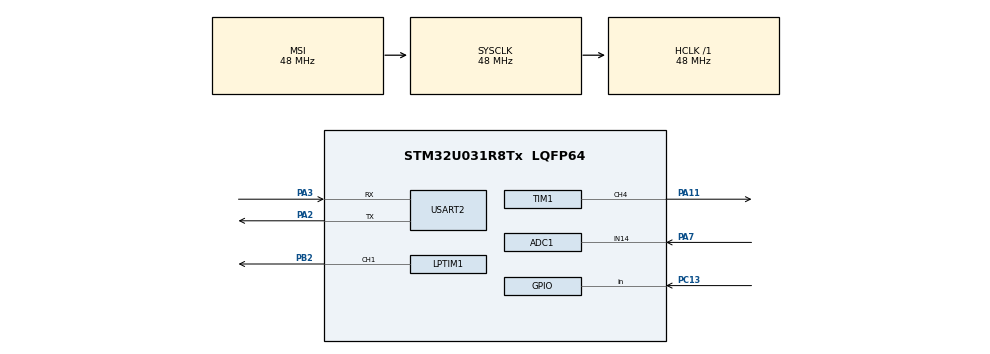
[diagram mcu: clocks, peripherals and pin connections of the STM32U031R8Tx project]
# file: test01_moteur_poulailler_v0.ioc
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ADC1.Channel-1\#ChannelRegularConversion=ADC_CHANNEL_14
ADC1.NbrOfConversionFlag=1
ADC1.Rank-1\#ChannelRegularConversion=1
ADC1.RankArg-1\#ChannelRegularConversion=ADC_REGULAR_RANK_1
ADC1.SamplingTime-1\#ChannelRegularConversion=ADC_SAMPLINGTIME_COMMON_1
ADC1.SamplingTimeCommon1=ADC_SAMPLETIME_160CYCLES_5
ADC1.SamplingTimeCommon2=ADC_SAMPLETIME_160CYCLES_5
ADC1.SelectedChannel=ADC_CHANNEL_14
ADC1.master=1
LPTIM1.ClockPrescaler=LPTIM_PRESCALER_DIV64
LPTIM1.OCPolarity_1=LPTIM_OCPOLARITY_LOW
LPTIM1.Period=999
LPTIM1.RepetitionCounter=0
LPTIM1.UpdateMode=LPTIM_UPDATE_IMMEDIATE
Mcu.Family=STM32U0
Mcu.Name=STM32U031R8Tx
Mcu.Package=LQFP64
NUCLEO-U031R8.BUTTON=1
NUCLEO-U031R8.LD4=false
NUCLEO-U031R8.VCP=false
NVIC.EXTI4_15_IRQn=true\:0\:0\:false\:false\:true\:false\:true\:true
NVIC.PriorityGroup=NVIC_PRIORITYGROUP_2
NVIC.USART2_LPUART2_IRQn=true\:0\:0\:false\:false\:true\:true\:true\:true
PA11\ [PA9].Signal=S_TIM1_CH4
PA13\ (SWDIO).GPIO_Label=SWDIO
PA13\ (SWDIO).Signal=DEBUG_JTMS-SWDIO
PA14\ (SWCLK).GPIO_Label=SWCLK
PA14\ (SWCLK).Signal=DEBUG_JTCK-SWCLK
PA2.Mode=Asynchronous
PA2.Signal=USART2_TX
PA3.Mode=Asynchronous
PA3.Signal=USART2_RX
PA7.Mode=IN14
PA7.Signal=ADC1_IN14
PB2.Signal=S_LPTIM1_CH1
PB8.GPIO_Label=I2C1_SCL
PB8.Signal=I2C1_SCL
PB9.GPIO_Label=I2C1_SDA
PB9.Signal=I2C1_SDA
PC13.Signal=GPIO_Input
PC14-OSC32_IN.GPIO_Label=OSC32_IN
PC14-OSC32_IN.Mode=LSE-External-Oscillator
PC14-OSC32_IN.Signal=RCC_OSC32_IN
PC15-OSC32_OUT.GPIO_Label=OSC32_OUT
PC15-OSC32_OUT.Mode=LSE-External-Oscillator
PC15-OSC32_OUT.Signal=RCC_OSC32_OUT
PF0-OSC_IN.GPIO_Label=OSC_IN
PF0-OSC_IN.Signal=RCC_OSC_IN
PF1-OSC_OUT.GPIO_Label=OSC_OUT
PF1-OSC_OUT.Signal=RCC_OSC_OUT
ProjectManager.HeapSize=0x200
ProjectManager.StackSize=0x400
ProjectManager.TargetToolchain=STM32CubeIDE
RCC.ADCFreq_Value=48000000
RCC.AHBFreq_Value=48000000
RCC.CortexFreq_Value=48000000
RCC.HCLKFreq_Value=48000000
RCC.HSE_VALUE=4000000
RCC.HSI48_VALUE=48000000
RCC.HSI_VALUE=16000000
RCC.MSIClockRangeVal=RCC_MSIRANGE_11
RCC.MSI_VALUE=48000000
RCC.RTCClockSelection=RCC_RTCCLKSOURCE_LSE
RCC.SYSCLKFreq_VALUE=48000000
RCC.SYSCLKSource=RCC_SYSCLKSOURCE_MSI
RCC.VCOOutputFreq_Value=64000000
SH.S_LPTIM1_CH1.0=LPTIM1_CH1,OutputIO_CH1
SH.S_TIM1_CH4.0=TIM1_CH4,PWM Generation4 CH4
TIM1.Channel-PWM\ Generation4\ CH4=TIM_CHANNEL_4
TIM1.Period=999
TIM1.Prescaler=63
USART2.VirtualMode-Asynchronous=VM_ASYNC
VP_LPTIM1_VS_CH1.Mode=Channel_1_Active
VP_LPTIM1_VS_LPTIM_counterModeInternalClock.Mode=Counts__internal_clock_event_00
VP_NUCLEO-U031R8_VS_BSP_COMMON.Mode=COMMON
VP_PWR_VS_SECSignals.Mode=Security/Privilege
VP_RTC_VS_RTC_Activate.Mode=RTC_Enabled
VP_RTC_VS_RTC_Calendar.Mode=RTC_Calendar
board=NUCLEO-U031R8

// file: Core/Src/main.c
/* USER CODE BEGIN Header */
/**
 ******************************************************************************
 * @file           : main.c
 * @brief          : Main program body
 ******************************************************************************
 */
/* USER CODE END Header */

#include "main.h"

/* USER CODE BEGIN PD */
// --- Broches de commande du driver moteur ---
#define MOTEUR_NSLEEP_PORT  GPIOA
#define MOTEUR_NSLEEP_PIN   GPIO_PIN_9   // Réveil du driver (LOW = veille driver)
#define MOTEUR_AVANT_PORT   GPIOB
#define MOTEUR_AVANT_PIN    GPIO_PIN_1   // Sens avant : HIGH = actif
#define MOTEUR_ARRIERE_PORT GPIOA
#define MOTEUR_ARRIERE_PIN  GPIO_PIN_10  // Sens arrière : HIGH = actif

// --- Broches LED de signalisation (gauche à droite) ---
#define LED_G_1_PORT  GPIOB
#define LED_G_1_PIN   GPIO_PIN_7  // LED 1 (la plus à gauche)
#define LED_G_2_PORT  GPIOB
#define LED_G_2_PIN   GPIO_PIN_3  // LED 2
#define LED_D_3_PORT  GPIOB
#define LED_D_3_PIN   GPIO_PIN_8  // LED 3 — ⚠ conflit possible I2C1_SCL
#define LED_D_4_PORT  GPIOB
#define LED_D_4_PIN   GPIO_PIN_9  // LED 4 (la plus à droite) — ⚠ conflit I2C1_SDA
/* USER CODE END PD */

ADC_HandleTypeDef   hadc1;
LPTIM_HandleTypeDef hlptim1;
RTC_HandleTypeDef   hrtc;
TIM_HandleTypeDef   htim1;
UART_HandleTypeDef  huart2;

/* USER CODE BEGIN PV */

uint32_t disconnect_start_time = 0;

/* --- Énumération états physiques de la vanne (direction moteur) ----------- */
typedef enum {
    MOTEUR_ARRET = 0,
    MOTEUR_DROITE,
    MOTEUR_GAUCHE
} Motor_State_t;

/* --- Vitesse et commandes UART ------------------------------------------- */
uint8_t        speed_level    = 3;                          // Niveau actuel (1=lent … 4=rapide)
const uint16_t speed_table[4] = {780, 840, 910, 999};      // Table des 4 vitesses fixes
uint16_t       current_speed  = 900;                        // Valeur PWM correspondant au niveau 3
uint8_t        rx_data;                                     // Dernier octet reçu sur l'UART
volatile uint8_t        rx_pending     = 0;  // 1 = octet de réveil disponible dans rx_data (capturé IT)
char msg_cmd[150];    // Dédié uniquement aux réponses de commandes ('D', 'A', 'S'...)
char msg_status[400]; // Dédié uniquement au gros tableau d'état périodique

/* --- Mesure de courant moteur via ADC ------------------------------------ */
uint32_t adc_value      = 0;    // Valeur brute 12 bits (0–4095)
float    courant_moteur = 0.0f; // Courant calculé en Ampères (instantané)
uint32_t last_tick      = 0;    // Référence pour la cadence de 500 ms

/* --- Filtre : moyenne glissante sur 5 échantillons ----------------------- */
float lecture[5]      = {0.0f, 0.0f, 0.0f, 0.0f, 0.0f}; // Fenêtre FIFO
float somme_courant   = 0.0f; // Somme recalculée à chaque nouvelle mesure
float moyenne_courant = 0.0f; // Résultat lissé utilisé par la FSM de sécurité

/* --- Sécurité : calibration et détection de blocage/absence ------------- */
float    courant_fonctionnement_morteur = 0.0f; // Courant nominal mesuré après 3 s de marche
float    threshold                      = 0.9f; // Seuil de surcourant (recalculé après calibration)
int      compteur_securite              = 0;    // Nombre de dépassements consécutifs du seuil
uint32_t motor_start_time               = 0;    // Horodatage du dernier démarrage

/* --- Machine à états de sécurité du moteur -------------------------------- */
typedef enum {
    MOTEUR_OFF,             // Arrêt propre, MCU peut entrer en veille
    DEMARRAGE_MOTEUR,       // Phase initiale : surcourant transitoire ignoré
    CALIBRATION_MOTEUR,     // Mesure du courant nominal pour fixer le seuil
    MOTEUR_MARCHE,          // Surveillance active : détection blocage/absence
    MOTEUR_ERREUR_ABSENCE,  // Moteur déconnecté (courant < 0.04 A) — clignotement 3 s
    MOTEUR_ERREUR_BLOCAGE   // Moteur bloqué (surcourant × 5) — clignotement 0.5 s
} MotorState_t;

volatile MotorState_t motor_state = MOTEUR_OFF; // État initial
uint32_t     elapsed     = 0;          // Durée ms depuis le dernier démarrage (accès global)

/* --- Gestion du timeout d'affichage LEDs vitesse ------------------------- */
uint32_t led_timer  = 0; // Horodatage du dernier changement de vitesse
volatile uint8_t  led_active = 0; // 1 = LEDs vitesse allumées, empêche la mise en veille

/* USER CODE END PV */

void SystemClock_Config(void);
static void MX_GPIO_Init(void);
static void MX_TIM1_Init(void);
static void MX_LPTIM1_Init(void);
static void MX_ADC1_Init(void);
static void MX_USART2_UART_Init(void);
static void MX_RTC_Init(void);
/* USER CODE BEGIN PFP */
void Enter_Low_Power_Mode(void);
void Update_LED_Timeout(void);
void Gerer_Erreur_Moteur(void);
static void UART_Send_Welcome_Msg(void);
/* USER CODE END PFP */

/* USER CODE BEGIN 0 */

/* USER CODE BEGIN 0 */
/* ---------------------------------------------------------------------------
 * UART_Send_Welcome_Msg — Affichage sécurisé du grand logo d'origine
 * --------------------------------------------------------------------------- */
static void UART_Send_Welcome_Msg(void)
{
    HAL_UART_Transmit(&huart2, (uint8_t*)"\r\n", 2, 10);
    HAL_Delay(20);

    // Tableau fixe stocké en Flash avec les caractères spéciaux d'origine
    static const char logo[] =
            "                              ######\r\n"
            "                            ########     ##\r\n"
            "                            #########   ######\r\n"
            "                             #########  ########\r\n"
            "                   ########  ##########  ########\r\n"
            "                  ################################\r\n"
            "                  ################################\r\n"
            "                   ###############################\r\n"
            "                    ##########         ##########\r\n"
            "                     #######             #######\r\n"
            "                      #####         @@@   ######\r\n"
            "     ###########        #         @@@@@@@  #########\r\n"
            "   #######    #### #####           @@@@@    #########   #####\r\n"
            "  ######      ##########                    ########### ######\r\n"
            " ######      #### ######                    #################\r\n"
            " ######           ##### #####      ######     #######   #####    #####    #######   ###### ###### #####\r\n"
            "######           #############    #####    #####      #####   ####     ###### ###  ############\r\n"
            "######           ######  ######   ######  ######       ##### ####      ######  ### ######   ######\r\n"
            "######          ######   ######   ###### ######       ###########   ######   ### ######   ######\r\n"
            "######          ######   #####   ######  #####        ######  #####  #####  ###   #####    #####\r\n"
            "######          #####   ######   ######  #####       ######    ##### #########    ######   ######\r\n"
            "######         ######   ######   #####   #####       ######   ###### ######      #######   #####\r\n"
            "#######     #########   ######  ####### #######   ########    ###### ######    ########    #####\r\n"
            "  ##################    ################# ################    ################# ######    #######\r\n"
            "     #####    #####        ##       ##      ####    #####        ##      ###     #####       ###\r\n"
            "\r\n"
            "                                               ###########\r\n"
            "                                             ### ####   ####   #######     #######\r\n"
            "                                            ###  ####   ####  #########   #########\r\n"
            "                                            ### #####   #### #######################     ########\r\n"
            "                                             ## ####    #### ########################   ##### ###\r\n"
            "                                               #####   ##### ########################   ####\r\n"
            "                                               ####    ####  ########################  #####\r\n"
            "                                               ####   ####    ######################   ####\r\n"
            "                                              ###########      ####################   ####\r\n"
            "                                              ##########        ##################   #####\r\n\0";

    // Envoi précis basé sur sizeof pour ne pas baver sur le reste de la mémoire
        HAL_UART_Transmit(&huart2, (uint8_t*)logo, sizeof(logo) - 1, 1500);
        HAL_Delay(100);

        static const char bloc_info[] =
            "\r\n+------------------------------------------------+\r\n"
            "|     SYSTEME DE CONTROLE MOTEUR INITIALISE      |\r\n"
            "|            PRET A RECEVOIR LES ORDRES          |\r\n"
            "+------------------------------------------------+\r\n\r\n\0";

        HAL_UART_Transmit(&huart2, (uint8_t*)bloc_info, sizeof(bloc_info) - 1, 200);
    }
/*USER CODE END 0 */

/* ---------------------------------------------------------------------------
 * LED_AllOff
 * Éteint les 4 LEDs d'un coup.
 * Mutualisée : Motor_Stop, Update_LED_Timeout, Reset erreur.
 * --------------------------------------------------------------------------- */

static void LED_AllOff(void)
{
    HAL_GPIO_WritePin(LED_G_1_PORT, LED_G_1_PIN, GPIO_PIN_RESET);
    HAL_GPIO_WritePin(LED_G_2_PORT, LED_G_2_PIN, GPIO_PIN_RESET);
    HAL_GPIO_WritePin(LED_D_3_PORT, LED_D_3_PIN, GPIO_PIN_RESET);
    HAL_GPIO_WritePin(LED_D_4_PORT, LED_D_4_PIN, GPIO_PIN_RESET);
}

/* ---------------------------------------------------------------------------
 * LED_ToggleAll
 * Inverse l'état des 4 LEDs simultanément.
 * Utilisée par Gerer_Erreur_Moteur pour le clignotement non-bloquant.
 * --------------------------------------------------------------------------- */

static void LED_ToggleAll(void)
{
    HAL_GPIO_TogglePin(LED_G_1_PORT, LED_G_1_PIN);
    HAL_GPIO_TogglePin(LED_G_2_PORT, LED_G_2_PIN);
    HAL_GPIO_TogglePin(LED_D_3_PORT, LED_D_3_PIN);
    HAL_GPIO_TogglePin(LED_D_4_PORT, LED_D_4_PIN);
}

/* ---------------------------------------------------------------------------
 * Motor_HardStop
 * Coupe la PWM et met les pins de direction à 0 SANS modifier motor_state.
 * Utilisée par la FSM d'erreur pour figer le hardware avant de verrouiller l'état.
 * Différent de Motor_Stop() qui remet motor_state = MOTEUR_OFF.
 * --------------------------------------------------------------------------- */

static void Motor_HardStop(void)
{
    HAL_LPTIM_PWM_Stop(&hlptim1, LPTIM_CHANNEL_1); // Coupe PWM marche arrière
    HAL_TIM_PWM_Stop(&htim1, TIM_CHANNEL_4);        // Coupe PWM marche avant
    HAL_GPIO_WritePin(GPIOA, GPIO_PIN_11, GPIO_PIN_RESET); // Pin direction pont H à 0
    HAL_GPIO_WritePin(GPIOB, GPIO_PIN_2,  GPIO_PIN_RESET); // Pin direction pont H à 0
}

/* ---------------------------------------------------------------------------
 * PWM_StopAll
 * Arrête les deux PWM avant tout changement de direction.
 * Évite un court-circuit du pont en H si les deux sens sont actifs simultanément.
 * --------------------------------------------------------------------------- */

static void PWM_StopAll(void)
{
    HAL_LPTIM_PWM_Stop(&hlptim1, LPTIM_CHANNEL_1);
    HAL_TIM_PWM_Stop(&htim1, TIM_CHANNEL_4);
}

/* ---------------------------------------------------------------------------
 * Motor_StartTimer
 * Réinitialise le chrono et le compteur de sécurité à chaque nouveau démarrage.
 * Mutualisé entre Motor_Forward et Motor_Reverse.
 * --------------------------------------------------------------------------- */

static void Motor_StartTimer(void)
{
    motor_start_time  = HAL_GetTick(); // Référence pour la FSM (demarrage, calibration, marche)
    motor_state       = DEMARRAGE_MOTEUR; // Ignore les surcourants pendant le transitoire
    compteur_securite = 0;            // Repart à zéro pour la prochaine détection de blocage
    elapsed           = 0;            // Affichage UART remis à zéro
}

/* ---------------------------------------------------------------------------
 * Motor_Forward — marche avant via TIM1 CH4
 * Séquence : arrêt propre → délai anti-shoot-through → démarrage PWM → chrono
 * --------------------------------------------------------------------------- */

void Motor_Forward(void)
{
    PWM_StopAll(); // Coupe les deux PWM : évite court-circuit pendant la transition

    // Pins de direction à 0 avant d'activer le nouveau sens
    HAL_GPIO_WritePin(GPIOB, GPIO_PIN_2,  GPIO_PIN_RESET);
    HAL_GPIO_WritePin(GPIOA, GPIO_PIN_11, GPIO_PIN_RESET);
    HAL_Delay(5); // 5 ms : attend l'extinction complète des transistors du pont en H

    __HAL_TIM_SET_COMPARE(&htim1, TIM_CHANNEL_4, current_speed); // Charge le rapport cyclique
    HAL_TIM_PWM_Start(&htim1, TIM_CHANNEL_4);   // Lance la PWM marche avant
    Motor_StartTimer(); // Démarre la FSM de sécurité
}

/* ---------------------------------------------------------------------------
 * Motor_Reverse — marche arrière via LPTIM1 CH1
 * Même séquence que Motor_Forward, mais PWM sur LPTIM1.
 * L'ordre de reset des pins est inversé (spécifique au câblage du pont en H).
 * --------------------------------------------------------------------------- */

void Motor_Reverse(void)
{
    PWM_StopAll();

    // Ordre de reset inversé par rapport à Forward : dépend du câblage du pont en H
    HAL_GPIO_WritePin(GPIOA, GPIO_PIN_11, GPIO_PIN_RESET);
    HAL_GPIO_WritePin(GPIOB, GPIO_PIN_2,  GPIO_PIN_RESET);
    HAL_Delay(5); // Anti-shoot-through

    HAL_LPTIM_PWM_Start(&hlptim1, LPTIM_CHANNEL_1); // Lance la PWM marche arrière
    __HAL_LPTIM_COMPARE_SET(&hlptim1, LPTIM_CHANNEL_1, current_speed); // Applique le rapport cyclique
    Motor_StartTimer();
}

/* ---------------------------------------------------------------------------
 * Motor_Stop — arrêt propre + reset état + extinction LEDs
 * Remet motor_state = MOTEUR_OFF → autorise la mise en veille dans le while(1).
 * --------------------------------------------------------------------------- */

void Motor_Stop(void)
{
    PWM_StopAll(); // Coupe les deux canaux PWM

    // Pont en H en roue libre (les deux pins à 0 = pas de freinage actif)
    HAL_GPIO_WritePin(GPIOA, GPIO_PIN_11, GPIO_PIN_RESET);
    HAL_GPIO_WritePin(GPIOB, GPIO_PIN_2,  GPIO_PIN_RESET);

    motor_state = MOTEUR_OFF; // Condition de mise en veille dans le while(1)
    threshold   = 1.0f;       // Réinitialise le seuil : sera recalibré au prochain démarrage

    LED_AllOff();  // Éteint les LEDs vitesse : moteur à l'arrêt = pas d'information à afficher
    led_active = 0; // Lève le verrou de mise en veille lié aux LEDs
}

/* ---------------------------------------------------------------------------
 * Motor_SetSpeed — change la vitesse (4 niveaux fixes) + affiche sur LEDs
 * Les LEDs servent de barre de progression : 1 LED = lent, 4 LEDs = rapide.
 * --------------------------------------------------------------------------- */

void Motor_SetSpeed(uint16_t speed)
{
    if (speed > 999)              speed = 999; // Limite haute : période timer = 999
    if (speed > 0 && speed < 700) speed = 700; // Limite basse : en dessous le moteur cale

    current_speed = speed;

    // Mise à jour PWM uniquement si le moteur tourne (évite une sortie fantôme à l'arrêt)
    if (motor_state != MOTEUR_OFF)
    {
        __HAL_TIM_SET_COMPARE(&htim1, TIM_CHANNEL_4, current_speed);    // Marche avant
        __HAL_LPTIM_COMPARE_SET(&hlptim1, LPTIM_CHANNEL_1, current_speed); // Marche arrière
    }

    // Affichage barre de vitesse : N LEDs allumées de gauche à droite = speed_level

    HAL_GPIO_WritePin(LED_G_1_PORT, LED_G_1_PIN, (speed_level >= 1) ? GPIO_PIN_SET : GPIO_PIN_RESET);
    HAL_GPIO_WritePin(LED_G_2_PORT, LED_G_2_PIN, (speed_level >= 2) ? GPIO_PIN_SET : GPIO_PIN_RESET);
    HAL_GPIO_WritePin(LED_D_3_PORT, LED_D_3_PIN, (speed_level >= 3) ? GPIO_PIN_SET : GPIO_PIN_RESET);
    HAL_GPIO_WritePin(LED_D_4_PORT, LED_D_4_PIN, (speed_level >= 4) ? GPIO_PIN_SET : GPIO_PIN_RESET);

    led_timer  = HAL_GetTick(); // Démarre le timeout de 1.5 s avant extinction auto
    led_active = 1;             // Empêche la mise en veille pendant l'affichage
}

/* ---------------------------------------------------------------------------
 * Get_Motor_Current — lecture ADC → conversion en Ampères
 * Formule : I = (ADC/4095 × 3.3 V) / R_shunt × facteur_correction - offset
 * --------------------------------------------------------------------------- */

float Get_Motor_Current(void)
{
    float res_ohm = 1.3f;   // Résistance de shunt mesurée physiquement (Ω)
    float offset  = 0.062f; // Tension résiduelle à courant nul (A), compensée ici

    HAL_ADC_Start(&hadc1); // Déclenche une conversion logicielle unique

    if (HAL_ADC_PollForConversion(&hadc1, 100) == HAL_OK)
    {
        adc_value = HAL_ADC_GetValue(&hadc1); // Valeur brute 12 bits (0–4095)

        // Conversion : tension ADC → courant, avec correction du gain de l'amplificateur
        courant_moteur = (((adc_value * 3.3f) / 4095.0f) / res_ohm) * 1.103f;
        courant_moteur -= offset; // Soustrait le zéro de l'ampèremètre à vide

        if (courant_moteur < 0) courant_moteur = 0; // Valeur physiquement impossible
    }

    HAL_ADC_Stop(&hadc1); // Libère l'ADC (LowPowerAutoPowerOff l'éteint aussi)
    return courant_moteur;
}

/* ---------------------------------------------------------------------------
 * Update_Moving_Average — filtre glissant FIFO 5 points
 * Lisse le courant pour éviter les fausses détections sur les pics transitoires.
 * --------------------------------------------------------------------------- */

float Update_Moving_Average(float new_sample)
{
    // Décalage FIFO : indice 0 = le plus ancien, 4 = le plus récent
    lecture[0] = lecture[1];
    lecture[1] = lecture[2];
    lecture[2] = lecture[3];
    lecture[3] = lecture[4];
    lecture[4] = new_sample; // Insère le nouvel échantillon en queue

    // Recalcul complet de la somme (5 valeurs, calcul incrémental inutile ici)
    somme_courant = 0;
    for (int i = 0; i < 5; i++) somme_courant += lecture[i];

    return somme_courant / 5.0f;
}

/* ---------------------------------------------------------------------------
 * UART_Send_Status — trame de diagnostic périodique (toutes les 500 ms)
 * Centralise l'envoi pour ne pas disperser les sprintf dans la FSM.
 * --------------------------------------------------------------------------- */

static void UART_Send_Status(void)
{
    int len = sprintf(msg_status,
        "\r\n+--------------------------------------+\r\n"
        "|            ETAT DU SYSTEME           |\r\n"
        "+--------------------------------------+\r\n"
        "| Courant Moy.   : %6.3f A            |\r\n"
        "| Courant Fct.   : %6.3f A            |\r\n"
        "| Seuil (Thresh) : %6.3f A            |\r\n"
        "| Compteur Secu. : %-6d              |\r\n"
        "| Etat Moteur    : %-6d              |\r\n"
        "| Temps Ecoule   : %-8lu ms         |\r\n"
        "| Niveau Vitesse : %-6d              |\r\n"
        "+--------------------------------------+\r\n",
        moyenne_courant, courant_fonctionnement_morteur,
        threshold, compteur_securite, (int)motor_state, elapsed, speed_level);

    // Augmentation légère du timeout (100ms) car le message contient plus de caractères
    HAL_UART_Transmit(&huart2, (uint8_t*)msg_status, len, 200);
}

/* ---------------------------------------------------------------------------
 * Motor_Security_FSM — surveillance courant en 4 phases
 *
 *  DEMARRAGE (0→2 s)   : transitoire ignoré, courant élevé normal
 *  CALIBRATION (2→3 s) : mesure du courant nominal → fixe threshold = nominal × 1.2
 *  MARCHE (>3 s)       : surveillance active
 *    → courant < 0.04 A : moteur absent/déconnecté → ERREUR_ABSENCE
 *    → surcourant × 5   : blocage mécanique → ERREUR_BLOCAGE
 *    → elapsed > 20 s   : fin de course temporelle → arrêt propre
 * --------------------------------------------------------------------------- */

static void Motor_Security_FSM(uint32_t current_time)
{
    elapsed = current_time - motor_start_time; // Durée depuis le dernier Motor_StartTimer()

    if (motor_state == DEMARRAGE_MOTEUR && elapsed > 2000)
    {
        // 2 s écoulées : fin du transitoire de démarrage
        motor_state = CALIBRATION_MOTEUR;
        HAL_UART_Transmit(&huart2, (uint8_t*)"Calibrage...\r\n", 14, 10);
    }
    else if (motor_state == CALIBRATION_MOTEUR && elapsed > 3000)
    {
        // 3 s : courant stabilisé → on le prend comme référence nominale
        courant_fonctionnement_morteur = moyenne_courant;

        // Plancher à 0.05 A : évite un seuil nul si le moteur tourne à vide
        if (courant_fonctionnement_morteur < 0.05f) courant_fonctionnement_morteur = 0.05f;

        threshold   = courant_fonctionnement_morteur * 1.25f; // +25 % de marge
        motor_state = MOTEUR_MARCHE; // Surveillance active

        int len = sprintf(msg_status, "Seuil fixé à: %.2f A\r\n", threshold);
        HAL_UART_Transmit(&huart2, (uint8_t*)msg_status, len, 50);
    }
    else if (motor_state == MOTEUR_MARCHE && elapsed > 20000)
    {
        // 20 s : fin de course temporelle → arrêt propre autorisé
        Motor_Stop();
        HAL_UART_Transmit(&huart2, (uint8_t*)"FIN DE COURSE (TEMPS)\r\n", 23, 50);
        elapsed = 0;
    }
    else if (motor_state == MOTEUR_MARCHE)
    {
        // --- Défaut de présence : moteur déconnecté du circuit ---
        if (moyenne_courant < 0.04f)
        {
            // 1. Si le moteur vient juste de descendre sous le seuil, on lance le chrono
            if (disconnect_start_time == 0)
            {
                disconnect_start_time = current_time;
                HAL_UART_Transmit(&huart2, (uint8_t*)"[!] Courant nul ! Verification en cours...\r\n", 44, 100);
            }
            // 2. Si le chrono est lancé, on gère l'affichage du décompte et la coupure
            else
            {
                uint32_t temps_suspect = current_time - disconnect_start_time;

                if (temps_suspect >= 5000)
                {
                    Motor_HardStop(); // Coupe le hardware sans écraser motor_state
                    motor_state = MOTEUR_ERREUR_ABSENCE; // Verrouille en état d'erreur
                    HAL_UART_Transmit(&huart2, (uint8_t*)"\r\n!!! DEFAUT: MOTEUR DECONNECTE (TIMEOUT 5S) !!!\r\n", 51, 100);
                    elapsed = 0;
                    disconnect_start_time = 0; // Reset du chrono
                }
                else
                {

                    // On affiche un message clair à chaque seconde fixe (1s, 2s, 3s, 4s)
                    // Puisque Motor_Periodic_Update tourne toutes les 500ms ou 1000ms, on suit le rythme.
                    char msg_countdown[60];
                    int len_count = sprintf(msg_countdown, "[!] Test absence... en cours depuis %lu ms / 5000 ms\r\n", temps_suspect);
                    HAL_UART_Transmit(&huart2, (uint8_t*)msg_countdown, len_count, 50);
                }
            }
        }
        // --- Détection de blocage mécanique par surcourant ---
        else if (moyenne_courant > threshold)
        {
            disconnect_start_time = 0; // Le courant est bon, on reset le chrono d'absence
            compteur_securite++;

            if (compteur_securite >= 5)
            {
                Motor_HardStop();
                motor_state = MOTEUR_ERREUR_BLOCAGE;
                HAL_UART_Transmit(&huart2, (uint8_t*)"!!! DEFAUT: BLOCAGE MOTEUR  !!!\r\n", 35, 100);
                elapsed = 0;
            }
        }
        else
        {
            disconnect_start_time = 0; // Le courant est parfaitement normal, on reset tout
            compteur_securite = 0;
        }
    }
}

/* ---------------------------------------------------------------------------
 * Motor_Periodic_Update — tâche périodique 500 ms (moteur en marche)
 * Lit le courant, met à jour la moyenne, exécute la FSM, envoie le diagnostic.
 * --------------------------------------------------------------------------- */
static void Motor_Periodic_Update(void)
{
    uint32_t current_time = HAL_GetTick();

    if (current_time - last_tick >= 1000) // Cadence fixe de 500 ms
    {
        last_tick = current_time; // Référence pour la prochaine fenêtre

        float instant   = Get_Motor_Current();
        moyenne_courant = Update_Moving_Average(instant); // Courant lissé sur 5 mesures

        Motor_Security_FSM(current_time); // Calibration + détection d'anomalie
        UART_Send_Status();               // Envoi trame diagnostic
    }
}

/* ---------------------------------------------------------------------------
 * Process_UART_Command — dispatch commandes UART (non bloquant)
 * rx_pending prioritaire : octet capturé depuis une IT de réveil veille.
 * Polling sinon (timeout = 0 ms = retour immédiat si rien).
 * --------------------------------------------------------------------------- */
static void Process_UART_Command(void)
{
    // Priorité à l'octet de réveil (capturé par IT avant le WFI)
    if (!rx_pending && HAL_UART_Receive(&huart2, &rx_data, 1, 0) != HAL_OK) return;
    rx_pending = 0; // Consomme le flag IT

    HAL_UART_Transmit(&huart2, &rx_data, 1, 10); // Echo : confirme la réception au PC

    switch (rx_data)
    {
        case 'D': Motor_Forward(); break;
        case 'A': Motor_Reverse(); break;
        case 'S': Motor_Stop();    break;

        case '+':
            if (speed_level < 4)
            {
                speed_level++;
                current_speed = speed_table[speed_level - 1]; // Niveau 1-4 → index 0-3
                Motor_SetSpeed(current_speed);
            }
            break;

        case '-':
            if (speed_level > 1)
            {
                speed_level--;
                current_speed = speed_table[speed_level - 1];
                Motor_SetSpeed(current_speed);
            }
            break;
    }

    sprintf(msg_cmd, "\r\nCommande: %c | Niveau Vitesse: %d | Valeur PWM: %d\r\n",
            rx_data, speed_level, current_speed);
    HAL_UART_Transmit(&huart2, (uint8_t*)msg_cmd, strlen(msg_cmd), 100);
}

/* ---------------------------------------------------------------------------
 * HAL_UART_RxCpltCallback — IT UART : flag seulement, jamais de logique ici
 * La logique moteur s'exécute dans Process_UART_Command (contexte tâche).
 * --------------------------------------------------------------------------- */
void HAL_UART_RxCpltCallback(UART_HandleTypeDef *huart)
{
    if (huart == &huart2) rx_pending = 1;
}

/* USER CODE END 0 */

int main(void)
{
    HAL_Init();
    SystemClock_Config();

    MX_GPIO_Init();
    MX_TIM1_Init();
    MX_LPTIM1_Init();
    MX_ADC1_Init();
    MX_USART2_UART_Init();
    MX_RTC_Init();

    /* USER CODE BEGIN 2 */
    /* USER CODE BEGIN 2 */
      HAL_TIM_PWM_Start(&htim1, TIM_CHANNEL_4); // Pré-démarre TIM1 (requis avant Motor_Forward)
      __HAL_TIM_MOE_ENABLE(&htim1);             // Main Output Enable : active la sortie TIM1

      if (HAL_LPTIM_PWM_Start(&hlptim1, LPTIM_CHANNEL_1) != HAL_OK) Error_Handler();

      // 🔥 LA CORRECTION EST ICI : On appelle juste la fonction, et c'est TOUT !
      UART_Send_Welcome_Msg();

      /* USER CODE END 2 */
    /* USER CODE BEGIN WHILE */

    while (1)
    {
        // 1. Traitement des commandes UART
        Process_UART_Command();

        // 2. Timeout LEDs vitesse
        if (motor_state != MOTEUR_ERREUR_ABSENCE && motor_state != MOTEUR_ERREUR_BLOCAGE)
        {
            Update_LED_Timeout();
        }

        // 3. Clignotement d'erreur
        Gerer_Erreur_Moteur();

        // 4. Moteur en marche normale → surveillance courant
        if (motor_state != MOTEUR_OFF
         && motor_state != MOTEUR_ERREUR_ABSENCE
         && motor_state != MOTEUR_ERREUR_BLOCAGE)
        {
            // On appelle UNIQUEMENT cette fonction.
            // C'est elle qui gère en interne le rythme des 500 ms pour TOUT le monde.
            Motor_Periodic_Update();
        }

        // 5. Veille uniquement si tout est éteint
        else if (motor_state == MOTEUR_OFF && led_active == 0)
        {
            Enter_Low_Power_Mode();
        }
    }
    /* USER CODE END WHILE */
}

void SystemClock_Config(void)
{
    RCC_OscInitTypeDef RCC_OscInitStruct = {0};
    RCC_ClkInitTypeDef RCC_ClkInitStruct = {0};

    HAL_PWREx_ControlVoltageScaling(PWR_REGULATOR_VOLTAGE_SCALE1);
    HAL_PWR_EnableBkUpAccess();
    __HAL_RCC_LSEDRIVE_CONFIG(RCC_LSEDRIVE_LOW);

    RCC_OscInitStruct.OscillatorType      = RCC_OSCILLATORTYPE_LSE | RCC_OSCILLATORTYPE_MSI;
    RCC_OscInitStruct.LSEState            = RCC_LSE_ON;
    RCC_OscInitStruct.MSIState            = RCC_MSI_ON;
    RCC_OscInitStruct.MSICalibrationValue = RCC_MSICALIBRATION_DEFAULT;
    RCC_OscInitStruct.MSIClockRange       = RCC_MSIRANGE_11; // 48 MHz
    RCC_OscInitStruct.PLL.PLLState        = RCC_PLL_NONE;
    if (HAL_RCC_OscConfig(&RCC_OscInitStruct) != HAL_OK) Error_Handler();

    RCC_ClkInitStruct.ClockType      = RCC_CLOCKTYPE_HCLK | RCC_CLOCKTYPE_SYSCLK | RCC_CLOCKTYPE_PCLK1;
    RCC_ClkInitStruct.SYSCLKSource   = RCC_SYSCLKSOURCE_MSI;
    RCC_ClkInitStruct.AHBCLKDivider  = RCC_SYSCLK_DIV1;
    RCC_ClkInitStruct.APB1CLKDivider = RCC_HCLK_DIV1;
    if (HAL_RCC_ClockConfig(&RCC_ClkInitStruct, FLASH_LATENCY_1) != HAL_OK) Error_Handler();
}

static void MX_ADC1_Init(void)
{
    ADC_ChannelConfTypeDef sConfig = {0};
    hadc1.Instance                   = ADC1;
    hadc1.Init.ClockPrescaler        = ADC_CLOCK_SYNC_PCLK_DIV1;
    hadc1.Init.Resolution            = ADC_RESOLUTION_12B;
    hadc1.Init.DataAlign             = ADC_DATAALIGN_RIGHT;
    hadc1.Init.ScanConvMode          = ADC_SCAN_DISABLE;
    hadc1.Init.EOCSelection          = ADC_EOC_SINGLE_CONV;
    hadc1.Init.LowPowerAutoWait      = DISABLE;
    hadc1.Init.LowPowerAutoPowerOff  = ENABLE;  // Éteint l'ADC entre deux conversions (~1 mA économisé)
    hadc1.Init.ContinuousConvMode    = DISABLE;
    hadc1.Init.NbrOfConversion       = 1;
    hadc1.Init.DiscontinuousConvMode = DISABLE;
    hadc1.Init.ExternalTrigConv      = ADC_SOFTWARE_START;
    hadc1.Init.ExternalTrigConvEdge  = ADC_EXTERNALTRIGCONVEDGE_NONE;
    hadc1.Init.DMAContinuousRequests = DISABLE;
    hadc1.Init.Overrun               = ADC_OVR_DATA_PRESERVED;
    hadc1.Init.SamplingTimeCommon1   = ADC_SAMPLETIME_160CYCLES_5;
    hadc1.Init.SamplingTimeCommon2   = ADC_SAMPLETIME_160CYCLES_5;
    hadc1.Init.OversamplingMode      = DISABLE;
    hadc1.Init.TriggerFrequencyMode  = ADC_TRIGGER_FREQ_HIGH;
    if (HAL_ADC_Init(&hadc1) != HAL_OK) Error_Handler();

    sConfig.Channel      = ADC_CHANNEL_14; // PA7 : shunt de mesure de courant
    sConfig.Rank         = ADC_REGULAR_RANK_1;
    sConfig.SamplingTime = ADC_SAMPLINGTIME_COMMON_1;
    if (HAL_ADC_ConfigChannel(&hadc1, &sConfig) != HAL_OK) Error_Handler();
}

static void MX_LPTIM1_Init(void)
{
    LPTIM_OC_ConfigTypeDef sConfig1 = {0};
    hlptim1.Instance               = LPTIM1;
    hlptim1.Init.Clock.Source      = LPTIM_CLOCKSOURCE_APBCLOCK_LPOSC;
    hlptim1.Init.Clock.Prescaler   = LPTIM_PRESCALER_DIV64; // Divise pour obtenir la fréquence PWM
    hlptim1.Init.Trigger.Source    = LPTIM_TRIGSOURCE_SOFTWARE;
    hlptim1.Init.Period            = 999; // Même période que TIM1 : cohérence du rapport cyclique
    hlptim1.Init.UpdateMode        = LPTIM_UPDATE_IMMEDIATE;
    hlptim1.Init.CounterSource     = LPTIM_COUNTERSOURCE_INTERNAL;
    hlptim1.Init.Input1Source      = LPTIM_INPUT1SOURCE_GPIO;
    hlptim1.Init.Input2Source      = LPTIM_INPUT2SOURCE_GPIO;
    hlptim1.Init.RepetitionCounter = 0;
    if (HAL_LPTIM_Init(&hlptim1) != HAL_OK) Error_Handler();

    sConfig1.Pulse      = 0;                    // Rapport cyclique initial à 0 %
    sConfig1.OCPolarity = LPTIM_OCPOLARITY_LOW; // Polarité inversée vs TIM1 (câblage pont en H)
    if (HAL_LPTIM_OC_ConfigChannel(&hlptim1, &sConfig1, LPTIM_CHANNEL_1) != HAL_OK) Error_Handler();
    HAL_LPTIM_MspPostInit(&hlptim1); // Reconnecte la broche GPIO à la sortie LPTIM1
}

static void MX_RTC_Init(void)
{
    RTC_TimeTypeDef sTime = {0};
    RTC_DateTypeDef sDate = {0};

    hrtc.Instance            = RTC;
    hrtc.Init.HourFormat     = RTC_HOURFORMAT_24;
    hrtc.Init.AsynchPrediv   = 127;  // Prédiviseur asynch : (127+1) × (255+1) = 32768 Hz (LSE)
    hrtc.Init.SynchPrediv    = 255;  // Prédiviseur synch : donne 1 Hz pour le compteur RTC
    hrtc.Init.OutPut         = RTC_OUTPUT_DISABLE;
    hrtc.Init.OutPutRemap    = RTC_OUTPUT_REMAP_NONE;
    hrtc.Init.OutPutPolarity = RTC_OUTPUT_POLARITY_HIGH;
    hrtc.Init.OutPutType     = RTC_OUTPUT_TYPE_OPENDRAIN;
    hrtc.Init.OutPutPullUp   = RTC_OUTPUT_PULLUP_NONE;
    hrtc.Init.BinMode        = RTC_BINARY_NONE;
    if (HAL_RTC_Init(&hrtc) != HAL_OK) Error_Handler();

    sTime.Hours = 0x0; sTime.Minutes = 0x0; sTime.Seconds = 0x0;
    sTime.DayLightSaving = RTC_DAYLIGHTSAVING_NONE;
    sTime.StoreOperation = RTC_STOREOPERATION_RESET;
    if (HAL_RTC_SetTime(&hrtc, &sTime, RTC_FORMAT_BCD) != HAL_OK) Error_Handler();

    sDate.WeekDay = RTC_WEEKDAY_MONDAY;
    sDate.Month   = RTC_MONTH_JANUARY;
    sDate.Date    = 0x1;
    sDate.Year    = 0x0;
    if (HAL_RTC_SetDate(&hrtc, &sDate, RTC_FORMAT_BCD) != HAL_OK) Error_Handler();
}

static void MX_TIM1_Init(void)
{
    TIM_MasterConfigTypeDef        sMasterConfig        = {0};
    TIM_OC_InitTypeDef             sConfigOC            = {0};
    TIM_BreakDeadTimeConfigTypeDef sBreakDeadTimeConfig = {0};

    htim1.Instance               = TIM1;
    htim1.Init.Prescaler         = 63;   // Divise l'horloge APB pour la fréquence PWM cible
    htim1.Init.CounterMode       = TIM_COUNTERMODE_UP;
    htim1.Init.Period            = 999;  // Période = 1000 pas → rapport cyclique sur [0, 999]
    htim1.Init.ClockDivision     = TIM_CLOCKDIVISION_DIV1;
    htim1.Init.RepetitionCounter = 0;
    htim1.Init.AutoReloadPreload = TIM_AUTORELOAD_PRELOAD_DISABLE;
    if (HAL_TIM_PWM_Init(&htim1) != HAL_OK) Error_Handler();

    sMasterConfig.MasterOutputTrigger  = TIM_TRGO_RESET;
    sMasterConfig.MasterOutputTrigger2 = TIM_TRGO2_RESET;
    sMasterConfig.MasterSlaveMode      = TIM_MASTERSLAVEMODE_DISABLE;
    if (HAL_TIMEx_MasterConfigSynchronization(&htim1, &sMasterConfig) != HAL_OK) Error_Handler();

    sConfigOC.OCMode       = TIM_OCMODE_PWM1; // Actif tant que CNT < CCR
    sConfigOC.Pulse        = 0;               // Rapport cyclique initial 0 %
    sConfigOC.OCPolarity   = TIM_OCPOLARITY_HIGH;
    sConfigOC.OCFastMode   = TIM_OCFAST_DISABLE;
    sConfigOC.OCIdleState  = TIM_OCIDLESTATE_RESET;
    sConfigOC.OCNIdleState = TIM_OCNIDLESTATE_RESET;
    if (HAL_TIM_PWM_ConfigChannel(&htim1, &sConfigOC, TIM_CHANNEL_4) != HAL_OK) Error_Handler();

    // Break/Dead-time tout désactivé : le pont en H est géré par GPIO, pas par le break hardware
    sBreakDeadTimeConfig.OffStateRunMode  = TIM_OSSR_DISABLE;
    sBreakDeadTimeConfig.OffStateIDLEMode = TIM_OSSI_DISABLE;
    sBreakDeadTimeConfig.LockLevel        = TIM_LOCKLEVEL_OFF;
    sBreakDeadTimeConfig.DeadTime         = 0;
    sBreakDeadTimeConfig.BreakState       = TIM_BREAK_DISABLE;
    sBreakDeadTimeConfig.BreakPolarity    = TIM_BREAKPOLARITY_HIGH;
    sBreakDeadTimeConfig.BreakFilter      = 0;
    sBreakDeadTimeConfig.BreakAFMode      = TIM_BREAK_AFMODE_INPUT;
    sBreakDeadTimeConfig.Break2State      = TIM_BREAK2_DISABLE;
    sBreakDeadTimeConfig.Break2Polarity   = TIM_BREAK2POLARITY_HIGH;
    sBreakDeadTimeConfig.Break2Filter     = 0;
    sBreakDeadTimeConfig.Break2AFMode     = TIM_BREAK_AFMODE_INPUT;
    sBreakDeadTimeConfig.AutomaticOutput  = TIM_AUTOMATICOUTPUT_DISABLE;
    if (HAL_TIMEx_ConfigBreakDeadTime(&htim1, &sBreakDeadTimeConfig) != HAL_OK) Error_Handler();
    HAL_TIM_MspPostInit(&htim1); // Reconnecte PA11 à la sortie TIM1 CH4
}

static void MX_USART2_UART_Init(void)
{
    huart2.Instance                    = USART2;
    huart2.Init.BaudRate               = 115200;
    huart2.Init.WordLength             = UART_WORDLENGTH_8B;
    huart2.Init.StopBits               = UART_STOPBITS_1;
    huart2.Init.Parity                 = UART_PARITY_NONE;
    huart2.Init.Mode                   = UART_MODE_TX_RX;
    huart2.Init.HwFlowCtl              = UART_HWCONTROL_NONE;
    huart2.Init.OverSampling           = UART_OVERSAMPLING_16;
    huart2.Init.OneBitSampling         = UART_ONE_BIT_SAMPLE_DISABLE;
    huart2.Init.ClockPrescaler         = UART_PRESCALER_DIV1;
    huart2.AdvancedInit.AdvFeatureInit = UART_ADVFEATURE_NO_INIT;
    if (HAL_UART_Init(&huart2) != HAL_OK) Error_Handler();
    if (HAL_UARTEx_SetTxFifoThreshold(&huart2, UART_TXFIFO_THRESHOLD_1_8) != HAL_OK) Error_Handler();
    if (HAL_UARTEx_SetRxFifoThreshold(&huart2, UART_RXFIFO_THRESHOLD_1_8) != HAL_OK) Error_Handler();
    if (HAL_UARTEx_DisableFifoMode(&huart2) != HAL_OK) Error_Handler();
}

static void MX_GPIO_Init(void)
{
    GPIO_InitTypeDef GPIO_InitStruct = {0};

    // Activation obligatoire des horloges GPIO avant tout accès registre
    __HAL_RCC_GPIOC_CLK_ENABLE();
    __HAL_RCC_GPIOF_CLK_ENABLE();
    __HAL_RCC_GPIOA_CLK_ENABLE();
    __HAL_RCC_GPIOB_CLK_ENABLE();

    // I2C1 : open-drain alternate function (géré par CubeMX, conservé pour l'équipe)
    GPIO_InitStruct.Pin       = I2C1_SCL_Pin | I2C1_SDA_Pin;
    GPIO_InitStruct.Mode      = GPIO_MODE_AF_OD;
    GPIO_InitStruct.Pull      = GPIO_NOPULL;
    GPIO_InitStruct.Speed     = GPIO_SPEED_FREQ_LOW;
    GPIO_InitStruct.Alternate = GPIO_AF4_I2C1;
    HAL_GPIO_Init(GPIOB, &GPIO_InitStruct);

/* USER CODE BEGIN MX_GPIO_Init_2 */
    // Pins de commande moteur : sortie push-pull (signaux DC, vitesse faible suffisante)
    GPIO_InitStruct.Mode  = GPIO_MODE_OUTPUT_PP;
    GPIO_InitStruct.Pull  = GPIO_NOPULL;
    GPIO_InitStruct.Speed = GPIO_SPEED_FREQ_LOW;

    GPIO_InitStruct.Pin = MOTEUR_NSLEEP_PIN | MOTEUR_ARRIERE_PIN; // PA9, PA10
    HAL_GPIO_Init(GPIOA, &GPIO_InitStruct);

    GPIO_InitStruct.Pin = MOTEUR_AVANT_PIN; // PB1
    HAL_GPIO_Init(GPIOB, &GPIO_InitStruct);

    // Pins LED : même mode sortie PP
    GPIO_InitStruct.Pin = LED_G_1_PIN | LED_G_2_PIN | LED_D_3_PIN | LED_D_4_PIN;
    HAL_GPIO_Init(GPIOB, &GPIO_InitStruct);

    // État initial : driver moteur en veille, LEDs éteintes
    HAL_GPIO_WritePin(GPIOA, MOTEUR_NSLEEP_PIN | MOTEUR_ARRIERE_PIN, GPIO_PIN_RESET);
    HAL_GPIO_WritePin(GPIOB, MOTEUR_AVANT_PIN | LED_G_1_PIN | LED_G_2_PIN
                            | LED_D_3_PIN | LED_D_4_PIN, GPIO_PIN_RESET);
/* USER CODE END MX_GPIO_Init_2 */
}

/* USER CODE BEGIN 4 */

/* ---------------------------------------------------------------------------
 * Gerer_Erreur_Moteur — clignotement non-bloquant selon le type d'erreur
 *
 * ERREUR_ABSENCE  → toutes les LEDs clignotent toutes les 3 s (défaut discret)
 * ERREUR_BLOCAGE  → toutes les LEDs clignotent toutes les 0.5 s (alarme rapide)
 *
 * Non-bloquant : utilise une variable statique + HAL_GetTick (pas de HAL_Delay).
 * L'état est verrouillé : seule une commande 'S' permet de sortir de l'erreur.
 * --------------------------------------------------------------------------- */
void Gerer_Erreur_Moteur(void)
{
    static uint32_t last_blink_tick = 0; // Statique : persiste entre deux appels
    uint32_t intervalle = 0;

    // Sélection de la période de clignotement selon l'erreur détectée
    if      (motor_state == MOTEUR_ERREUR_ABSENCE) intervalle = 3000; // Lent : déconnexion
    else if (motor_state == MOTEUR_ERREUR_BLOCAGE) intervalle = 500;  // Rapide : blocage

    if (intervalle > 0 && (HAL_GetTick() - last_blink_tick >= intervalle))
    {
        last_blink_tick = HAL_GetTick(); // Mémorise pour la prochaine période
        LED_ToggleAll(); // Inverse l'état des 4 LEDs simultanément
    }
}

/* ---------------------------------------------------------------------------
 * Update_LED_Timeout — extinction automatique des LEDs vitesse après 1.5 s
 * Évite de laisser la barre de vitesse allumée indéfiniment.
 * Non appelée en état d'erreur : le clignotement d'erreur ne doit pas être coupé.
 * --------------------------------------------------------------------------- */
void Update_LED_Timeout(void)
{
    if (led_active && (HAL_GetTick() - led_timer >= 1500))
    {
        LED_AllOff();  // Éteint les 4 LEDs
        led_active = 0; // Lève le verrou de mise en veille
    }
}

/* ---------------------------------------------------------------------------
 * Clock_SwitchToSleep — réduit MSI 48 MHz → 4 MHz + SCALE2 avant veille
 * Séquence obligatoire : flash latency → fréquence → tension → BRR UART
 * HAL_UART_Init() recalcule le BRR pour 115200 baud @ 4 MHz automatiquement.
 * DOIT être appelé AVANT HAL_UART_Receive_IT (sinon le HAL_UART_Init annule l'IT).
 * --------------------------------------------------------------------------- */
static void Clock_SwitchToSleep(void)
{
    __HAL_FLASH_SET_LATENCY(FLASH_LATENCY_0); // 0 wait state suffisant à 4 MHz

    RCC_OscInitTypeDef osc      = {0};
    osc.OscillatorType          = RCC_OSCILLATORTYPE_MSI;
    osc.MSIState                = RCC_MSI_ON;
    osc.MSICalibrationValue     = RCC_MSICALIBRATION_DEFAULT;
    osc.MSIClockRange           = RCC_MSIRANGE_6; // 4 MHz
    osc.PLL.PLLState            = RCC_PLL_NONE;
    HAL_RCC_OscConfig(&osc);

    // SCALE2 (Vcore 1.0 V) : seulement APRÈS la réduction de fréquence
    // Inverser l'ordre = instabilité CPU à haute fréquence sous-alimenté
    HAL_PWREx_ControlVoltageScaling(PWR_REGULATOR_VOLTAGE_SCALE2);

    HAL_UART_Init(&huart2); // Recalcule le BRR pour 115200 baud @ 4 MHz
}

/* ---------------------------------------------------------------------------
 * Clock_SwitchToFullSpeed — restaure MSI 4 MHz → 48 MHz + SCALE1 au réveil
 * Séquence obligatoire : tension → fréquence → flash latency → BRR UART
 * --------------------------------------------------------------------------- */
static void Clock_SwitchToFullSpeed(void)
{
    // SCALE1 (Vcore 1.2 V) obligatoire AVANT de repasser au-dessus de 26 MHz
    HAL_PWREx_ControlVoltageScaling(PWR_REGULATOR_VOLTAGE_SCALE1);

    RCC_OscInitTypeDef osc  = {0};
    osc.OscillatorType      = RCC_OSCILLATORTYPE_MSI;
    osc.MSIState            = RCC_MSI_ON;
    osc.MSICalibrationValue = RCC_MSICALIBRATION_DEFAULT;
    osc.MSIClockRange       = RCC_MSIRANGE_11; // 48 MHz
    osc.PLL.PLLState        = RCC_PLL_NONE;
    HAL_RCC_OscConfig(&osc);

    __HAL_FLASH_SET_LATENCY(FLASH_LATENCY_1); // Restore latence pour 48 MHz

    HAL_UART_Init(&huart2); // Recalcule le BRR pour 115200 baud @ 48 MHz
}

/* ---------------------------------------------------------------------------
 * Enter_Low_Power_Mode — veille SLEEP avec réveil par UART
 *
 * Séquence :
 *   1. Purge UART → évite réveil immédiat sur flag résiduel
 *   2. GPIO → analogique → supprime courants de fuite
 *   3. Clock gating TIM1/LPTIM1/ADC
 *   4. Clock_SwitchToSleep() EN PREMIER → HAL_UART_Init recalcule le BRR
 *      ⚠ Doit précéder HAL_UART_Receive_IT : sinon l'Init annule l'IT
 *   5. HAL_UART_Receive_IT → capture l'octet de réveil dans rx_data
 *   6. SysTick off → WFI
 *   ---- RÉVEIL ----
 *   7. Clock_SwitchToFullSpeed() → BRR restauré pour 48 MHz
 *   8. Périphériques restaurés
 * --------------------------------------------------------------------------- */
void Enter_Low_Power_Mode(void)
{
    HAL_UART_Transmit(&huart2, (uint8_t*)"Entree en veille...\r\n", 21, 50);
    HAL_Delay(10); // Laisse l'UART vider son buffer TX avant la coupure

    /* 1. Purge UART : supprime les flags résiduels pour éviter un faux réveil */
    __HAL_UART_FLUSH_DRREGISTER(&huart2);
    __HAL_UART_CLEAR_FLAG(&huart2, UART_CLEAR_OREF | UART_CLEAR_NEF | UART_CLEAR_FEF | UART_CLEAR_PEF);
    volatile uint32_t tmpreg = huart2.Instance->RDR; // Vide le registre de données
    (void)tmpreg;                                     // Évite le warning "unused variable"

    /* 2. GPIO en analogique : supprime les courants de fuite (économie de courant) */
    GPIO_InitTypeDef GPIO_InitStruct = {0};
    GPIO_InitStruct.Mode = GPIO_MODE_ANALOG;
    GPIO_InitStruct.Pull = GPIO_NOPULL;

    // PA2 (TX) et PA3 (RX) conservés → UART physiquement connecté
    // PA13/PA14 (SWD) conservés → débogage toujours possible
    GPIO_InitStruct.Pin = GPIO_PIN_ALL & ~(GPIO_PIN_2 | GPIO_PIN_3 | GPIO_PIN_13 | GPIO_PIN_14);
    HAL_GPIO_Init(GPIOA, &GPIO_InitStruct);

    GPIO_InitStruct.Pin = GPIO_PIN_ALL;
    HAL_GPIO_Init(GPIOB, &GPIO_InitStruct); // Tout GPIOB en analogique (moteur + LEDs inutiles)
    HAL_GPIO_Init(GPIOC, &GPIO_InitStruct);

    /* 3. Clock gating : coupe les périphériques inutiles en veille */
    __HAL_RCC_TIM1_CLK_DISABLE();
    __HAL_RCC_LPTIM1_CLK_DISABLE();
    __HAL_RCC_ADC_CLK_DISABLE();

    /* 4. Réduction clock EN PREMIER : HAL_UART_Init() recalcule le BRR @ 4 MHz
     *    Règle absolue : Clock_SwitchToSleep() AVANT HAL_UART_Receive_IT
     *    Sinon HAL_UART_Init() à l'intérieur effacerait RXNEIE → pas de réveil */
    Clock_SwitchToSleep();

    /* 5. Setup IT de réveil APRÈS le switch d'horloge
     *    HAL stocke l'octet dans rx_data → HAL_UART_RxCpltCallback → rx_pending = 1 */
    HAL_UART_Receive_IT(&huart2, &rx_data, 1);

    /* 6. SysTick off : sinon réveil toutes les 1 ms (SysTick continue en SLEEP) */
    HAL_SuspendTick();

    // CPU s'arrête ici — USART2 surveille le bus à 115200 baud @ 4 MHz
    HAL_PWR_EnterSLEEPMode(PWR_MAINREGULATOR_ON, PWR_SLEEPENTRY_WFI);

    /* ======= RÉVEIL ICI ======= */

    HAL_ResumeTick(); // Relance le SysTick (HAL_GetTick() redevient fiable)

    /* 7. Restaure 48 MHz AVANT de relancer TIM1/LPTIM1 (configurés pour 48 MHz) */
    Clock_SwitchToFullSpeed();

    /* 8. Réactive les horloges périphériques */
    __HAL_RCC_TIM1_CLK_ENABLE();
    __HAL_RCC_LPTIM1_CLK_ENABLE();
    __HAL_RCC_ADC_CLK_ENABLE();

    /* 9. Restaure GPIO + périphériques (perdus pendant la veille) */
    MX_GPIO_Init();
    MX_TIM1_Init();
    MX_LPTIM1_Init();
    MX_ADC1_Init();

    HAL_TIM_PWM_Start(&htim1, TIM_CHANNEL_4); // Relance TIM1 (requis avant Motor_Forward)
    __HAL_TIM_MOE_ENABLE(&htim1);             // Réactive la sortie principale de TIM1

    // IT désactivée automatiquement par HAL après réception → polling reprend
    HAL_UART_Transmit(&huart2, (uint8_t*)"Reveil OK !\r\n", 13, 50);
}

/* USER CODE END 4 */

void Error_Handler(void)
{
    __disable_irq(); // Coupe toutes les interruptions pour figer le système
    while (1) {}
}
